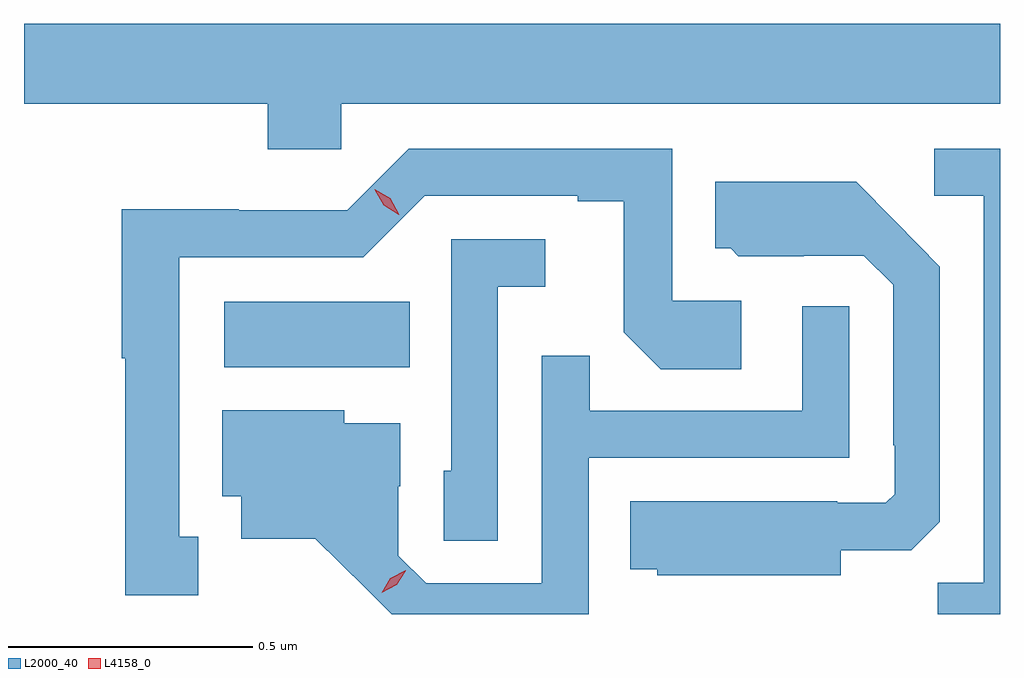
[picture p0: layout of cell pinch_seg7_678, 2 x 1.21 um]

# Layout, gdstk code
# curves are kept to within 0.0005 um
import gdstk
lib = gdstk.Library(unit=1e-6, precision=1e-09)
def R(c, l, rs):  # rectangles x0, y0, x1, y1
    for r in rs: c.add(gdstk.rectangle(r[:2], r[2:], *l))
def P(c, l, *ps):  # polygons
    for p in ps: c.add(gdstk.Polygon(p, *l))
L2000_40 = (2000, 40)
L4158_0 = (4158, 0)

pinch_seg7_678 = lib.new_cell('pinch_seg7_678')
R(pinch_seg7_678, L2000_40, [(113.622,1024.052,114.002,1024.186)])
P(pinch_seg7_678, L2000_40, [(113.862,1024.592),(115.212,1024.592),(115.212,1024.756),(113.212,1024.756),(113.212,1024.592),(113.711,1024.592),(113.711,1024.499),(113.862,1024.499)],
  [(113.569,1023.705),(113.53,1023.705),(113.53,1024.278),(113.907,1024.278),(114.033,1024.404),(114.347,1024.404),(114.347,1024.392),(114.441,1024.392),(114.441,1024.124),(114.517,1024.048),(114.682,1024.048),(114.682,1024.188),(114.54,1024.188),(114.54,1024.5),(114,1024.5),(113.874,1024.374),(113.652,1024.374),(113.652,1024.376),(113.412,1024.376),(113.412,1024.071),(113.419,1024.071),(113.419,1023.585),(113.569,1023.585)],
  [(115.212,1024.5),(115.077,1024.5),(115.077,1024.404),(115.179,1024.404),(115.179,1023.611),(115.084,1023.611),(115.084,1023.546),(115.212,1023.546)],
  [(114.886,1023.677),(115.03,1023.677),(115.089,1023.736),(115.089,1024.258),(114.917,1024.432),(114.629,1024.432),(114.629,1024.296),(114.66,1024.296),(114.676,1024.28),(114.81,1024.28),(114.81,1024.281),(114.933,1024.281),(114.993,1024.221),(114.993,1023.892),(114.996,1023.892),(114.996,1023.792),(114.978,1023.774),(114.878,1023.774),(114.878,1023.778),(114.454,1023.778),(114.454,1023.638),(114.51,1023.638),(114.51,1023.626),(114.886,1023.626)],
  [(114.183,1024.217),(114.28,1024.217),(114.28,1024.314),(114.087,1024.314),(114.087,1023.84),(114.072,1023.84),(114.072,1023.697),(114.183,1023.697)],
  [(114.369,1023.867),(114.903,1023.867),(114.903,1024.177),(114.807,1024.177),(114.807,1023.963),(114.371,1023.963),(114.371,1024.076),(114.273,1024.076),(114.273,1023.609),(114.036,1023.609),(113.979,1023.666),(113.979,1023.808),(113.983,1023.808),(113.983,1023.937),(113.868,1023.937),(113.868,1023.964),(113.618,1023.964),(113.618,1023.788),(113.657,1023.788),(113.657,1023.701),(113.809,1023.701),(113.966,1023.546),(114.369,1023.546)])
P(pinch_seg7_678, L4158_0, [(113.945,1023.59),(113.945,1023.59),(113.963,1023.62),(113.994,1023.636),(113.994,1023.636),(113.994,1023.635),(113.976,1023.606),(113.945,1023.59)],
  [(113.98,1024.365),(113.949,1024.384),(113.931,1024.416),(113.931,1024.417),(113.931,1024.417),(113.963,1024.398),(113.981,1024.365),(113.981,1024.365)])

lib.write_gds('pinch_seg7_678.gds')
